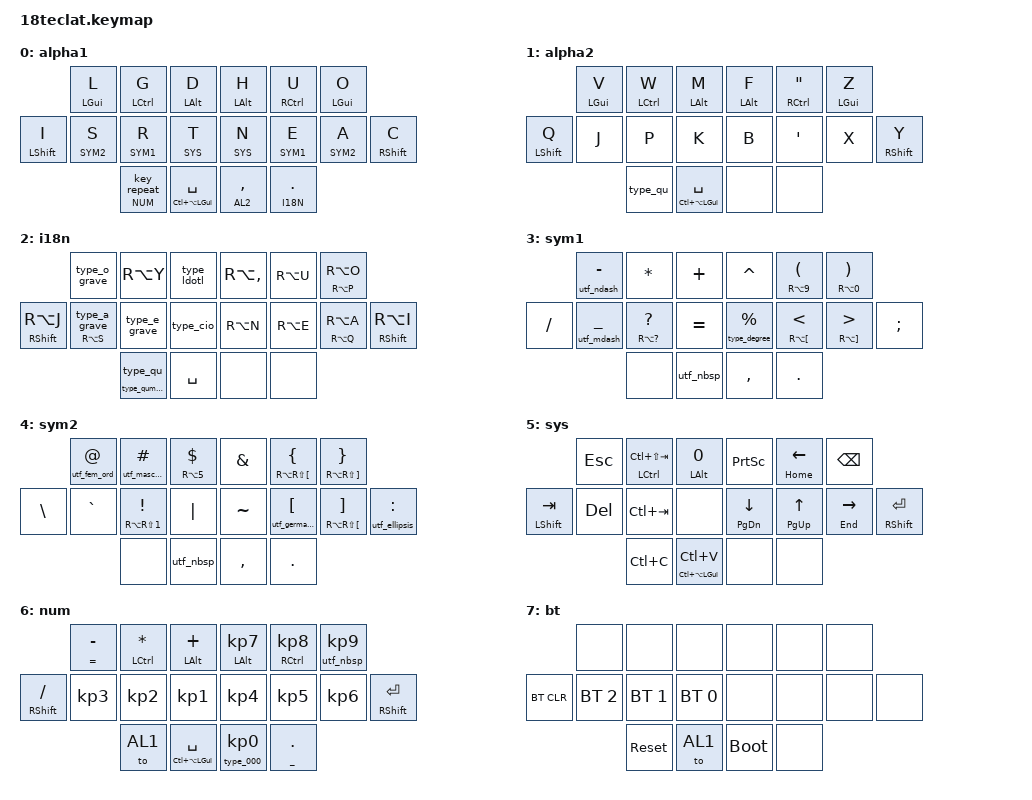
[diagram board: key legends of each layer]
/*
 * Copyright (c) 2020 The ZMK Contributors
 *
 * SPDX-License-Identifier: MIT
 */

#include <behaviors.dtsi>
#include <dt-bindings/zmk/keys.h>
#include <dt-bindings/zmk/bt.h>

#include "macros.conf"


&mt {
  tapping-term-ms = <201>;
  flavor = "tap-preferred";
};

// ===================
//   LAYERS
// ===================

#define AL1 0
#define AL2 1
#define I18N 2
#define SYM1 3
#define SYM2 4
#define SYS 5
#define NUM 6
#define BT 7

// ===================
//   DELAYS
// ===================

#define HOLDTAP_TAPPING_TERM_MS 200
#define HOLDTAP_QUICK_TAP_MS 200

// ===================
//   LAYOUT
// ===================

/* -------------------------------------- */
/*     0   1   2     |     3   4   5       */
/* 6   7   8   9     |    10  11  12  13  */
/*             14 15 | 16 17              */
/* -------------------------------------- */

/ {
  combos {
    compatible = "zmk,combos";
    combo_bt  {
      timeout-ms = <10>;
      key-positions = <3 4 5>;
      bindings = <&to BT>;
      layers = <SYS>;
    };
    combo_caps {
      timeout-ms = <30>;
      key-positions = <7 8 9>;
      bindings = <&caps_word>;
      layers = <AL1>;
    };
    combo_num {
      timeout-ms = <30>;
      key-positions = <10 11 12>;
      bindings = <&to NUM>;
      layers = <AL1>;
    };
  };

  behaviors {
    // ---------------------------------------------------
    //    GENERICS
    // ---------------------------------------------------
    hrm: homerow_mods {
      compatible = "zmk,behavior-hold-tap";
      #binding-cells = <2>;
      tapping-term-ms = <300>;
      quick-tap-ms = <250>;
      flavor = "tap-preferred";
      bindings = <&kp>, <&kp>;
    };
    ht: holdtap {
      compatible = "zmk,behavior-hold-tap";
      #binding-cells = <2>;
      tapping-term-ms = <HOLDTAP_TAPPING_TERM_MS>;
      quick-tap-ms = <HOLDTAP_QUICK_TAP_MS>;
      flavor = "tap-preferred";
      bindings = <&kp>, <&kp>;
    };
    htl: holdtap_layer {
      compatible = "zmk,behavior-hold-tap";
      #binding-cells = <2>;
      tapping-term-ms = <220>;
      quick-tap-ms = <250>;
      flavor = "tap-preferred";
      bindings = <&mo>, <&kp>;
    };
    htl2: holdtap_layer_2 {
      compatible = "zmk,behavior-hold-tap";
      #binding-cells = <2>;
      tapping-term-ms = <220>;
      quick-tap-ms = <250>;
      flavor = "hold-preferred";
      bindings = <&mo>, <&kp>;
    };

    // ---------------------------------------------------
    //    SPECIAL KEYS
    // ---------------------------------------------------
    mo_rpt: mo_rpt {
      compatible = "zmk,behavior-hold-tap";
      #binding-cells = <2>;
      tapping-term-ms = <HOLDTAP_TAPPING_TERM_MS>;
      quick-tap-ms = <HOLDTAP_QUICK_TAP_MS>;
      flavor = "tap-preferred";
      bindings = <&mo>, <&key_repeat>;
    };

    // ---------------------------------------------------
    //    I18N - HOLDING UTF CHARS
    // ---------------------------------------------------
    ht_elli: ht_elli {
      compatible = "zmk,behavior-hold-tap";
      #binding-cells = <2>;
      tapping-term-ms = <HOLDTAP_TAPPING_TERM_MS>;
      quick-tap-ms = <HOLDTAP_QUICK_TAP_MS>;
      flavor = "tap-preferred";
      bindings = <&utf_ellipsis>, <&kp>;
    };
    ht_ndsh: ht_ndsh {
      compatible = "zmk,behavior-hold-tap";
      #binding-cells = <2>;
      tapping-term-ms = <HOLDTAP_TAPPING_TERM_MS>;
      quick-tap-ms = <HOLDTAP_QUICK_TAP_MS>;
      flavor = "tap-preferred";
      bindings = <&utf_ndash>, <&kp>;
    };
    ht_ordf: ht_ordf {
      compatible = "zmk,behavior-hold-tap";
      #binding-cells = <2>;
      tapping-term-ms = <HOLDTAP_TAPPING_TERM_MS>;
      quick-tap-ms = <HOLDTAP_QUICK_TAP_MS>;
      flavor = "tap-preferred";
      bindings = <&utf_fem_ord>, <&kp>;
    };
    ht_ordm: ht_ordm {
      compatible = "zmk,behavior-hold-tap";
      #binding-cells = <2>;
      tapping-term-ms = <HOLDTAP_TAPPING_TERM_MS>;
      quick-tap-ms = <HOLDTAP_QUICK_TAP_MS>;
      flavor = "tap-preferred";
      bindings = <&utf_masc_ord>, <&kp>;
    };
    ht_mdsh: ht_mdsh {
      compatible = "zmk,behavior-hold-tap";
      #binding-cells = <2>;
      tapping-term-ms = <HOLDTAP_TAPPING_TERM_MS>;
      quick-tap-ms = <HOLDTAP_QUICK_TAP_MS>;
      flavor = "tap-preferred";
      bindings = <&utf_mdash>, <&kp>;
    };
    ht_agrv: ht_agrv {
      compatible = "zmk,behavior-hold-tap";
      #binding-cells = <2>;
      tapping-term-ms = <HOLDTAP_TAPPING_TERM_MS>;
      quick-tap-ms = <HOLDTAP_QUICK_TAP_MS>;
      flavor = "tap-preferred";
      bindings = <&kp>, <&type_a_grave>;
    };
    ht_deg: ht_deg {
      compatible = "zmk,behavior-hold-tap";
      #binding-cells = <2>;
      tapping-term-ms = <HOLDTAP_TAPPING_TERM_MS>;
      quick-tap-ms = <HOLDTAP_QUICK_TAP_MS>;
      flavor = "tap-preferred";
      bindings = <&type_degree>, <&kp>;
    };
    ht_deqt: ht_deqt {
      compatible = "zmk,behavior-hold-tap";
      #binding-cells = <2>;
      tapping-term-ms = <HOLDTAP_TAPPING_TERM_MS>;
      quick-tap-ms = <HOLDTAP_QUICK_TAP_MS>;
      flavor = "tap-preferred";
      bindings = <&utf_german_quote>, <&kp>;
    };
    ht_nbsp: ht_nbsp {
      compatible = "zmk,behavior-hold-tap";
      #binding-cells = <2>;
      tapping-term-ms = <HOLDTAP_TAPPING_TERM_MS>;
      quick-tap-ms = <HOLDTAP_QUICK_TAP_MS>;
      flavor = "tap-preferred";
      bindings = <&utf_nbsp>, <&kp>;
    };
    ht_000: ht_000 {
      compatible = "zmk,behavior-hold-tap";
      #binding-cells = <2>;
      tapping-term-ms = <HOLDTAP_TAPPING_TERM_MS>;
      quick-tap-ms = <HOLDTAP_QUICK_TAP_MS>;
      flavor = "tap-preferred";
      bindings = <&type_000>, <&kp>;
    };
    ht_qu_i18n: ht_qu_i18n {
      compatible = "zmk,behavior-hold-tap";
      #binding-cells = <2>;
      tapping-term-ms = <HOLDTAP_TAPPING_TERM_MS>;
      quick-tap-ms = <HOLDTAP_QUICK_TAP_MS>;
      flavor = "tap-preferred";
      bindings = <&type_qumlaut>, <&type_qu>;
    };
  };
  keymap {
    compatible = "zmk,keymap";
    alpha1 {
      bindings = <
                      &hrm LGUI L       &hrm LCTL G         &hrm LALT D              &hrm  LALT H      &hrm  RCTL U      &hrm LGUI O
        &mt LSHIFT I  &htl SYM2 S       &htl SYM1 R         &htl SYS  T              &htl  SYS  N      &htl  SYM1 E      &htl SYM2 A      &mt RSHIFT C
                                        &mo_rpt NUM 0       &ht LC(LA(LGUI)) SPC     &htl2 AL2  COMMA  &htl2 I18N DOT
      >;
    };

    alpha2 {
      bindings = <
                      &hrm LGUI V       &hrm LCTL W         &hrm LALT M              &hrm LALT F     &hrm RCTL DQT    &hrm LGUI Z
        &mt LSHIFT Q  &kp  J            &kp  P              &kp  K                   &kp B           &kp  SQT         &kp  X           &mt RSHIFT Y
                                        &type_qu            &ht LC(LA(LGUI)) SPC     &none           &none
      >;
    };

    i18n {
      bindings = <
                          &type_o_grave        &kp RA(Y)           &type_ldotl              &kp RA(COMMA)   &kp RA(U)        &ht RA(P) RA(O)
        &mt RSHIFT RA(J)  &ht_agrv RA(S) 0     &type_e_grave       &type_cio                &kp RA(N)       &kp RA(E)        &ht RA(Q) RA(A)  &mt RSHIFT RA(I)
                                               &ht_qu_i18n 0 0     &kp SPC                  &none           &none
      >;
    };

    sym1 {
      bindings = <
                   &ht_ndsh 0 MINUS  &kp STAR            &kp PLUS                 &kp CARET       &ht RA(N9) LPAR  &ht RA(N0) RPAR
        &kp SLASH  &ht_mdsh 0 UNDER  &ht RA(QMARK) QMARK &kp EQUAL                &ht_deg 0 PRCNT &ht RA(LBKT) LT  &ht RA(RBKT) GT  &kp SEMICOLON
                                     &none               &utf_nbsp                &kp COMMA       &kp DOT
      >;
    };

    sym2 {
      bindings = <
                    &ht_ordf 0 AT   &ht_ordm 0 HASH       &ht RA(N5) DOLLAR             &kp AMPS    &ht RA(RS(LBKT)) LBRC   &ht RA(RS(RBKT)) RBRC
         &kp BSLH   &kp GRAVE       &ht RA(RS(N1)) EXCL   &kp PIPE                      &kp TILDE   &ht_deqt 0 LBKT         &ht RA(RS(LBKT)) RBKT   &ht_elli 0 COLON
                                    &none                 &utf_nbsp                     &kp COMMA   &kp DOT
      >;
    };

    sys {
      bindings = <
                         &kp ESC     &hrm LCTL LC(LS(TAB))   &hrm LALT 0                &kp PSCRN       &ht HOME LEFT  &kp BKSP
        &mt LSHIFT TAB   &kp DEL     &kp LC(TAB)             &none                      &ht PG_DN DOWN  &ht PG_UP UP   &ht END RIGHT        &mt RSHIFT ENTER
                                     &kp LC(C)               &ht LC(LA(LGUI)) LC(V)     &none           &none
      >;
    };

    num {
      bindings = <
                             &ht EQUAL MINUS &hrm LCTL STAR &hrm LALT PLUS         &hrm LALT KP_N7  &hrm RCTL KP_N8  &ht_nbsp 0 KP_N9
        &mt RSHIFT SLASH     &kp KP_N3       &kp KP_N2      &kp KP_N1              &kp KP_N4        &kp KP_N5        &kp KP_N6         &mt RSHIFT ENTER
                                             &to AL1        &ht LC(LA(LGUI)) SPC   &ht_000 0 KP_N0  &ht UNDER DOT
      >;
    };

    bt {
      bindings = <
                      &none         &none         &none                   &none       &none      &none
        &bt BT_CLR    &bt BT_SEL 2  &bt BT_SEL 1  &bt BT_SEL 0            &none       &none      &none      &none
                                    &sys_reset    &to AL1                 &bootloader &none
      >;
    };
  };
};

